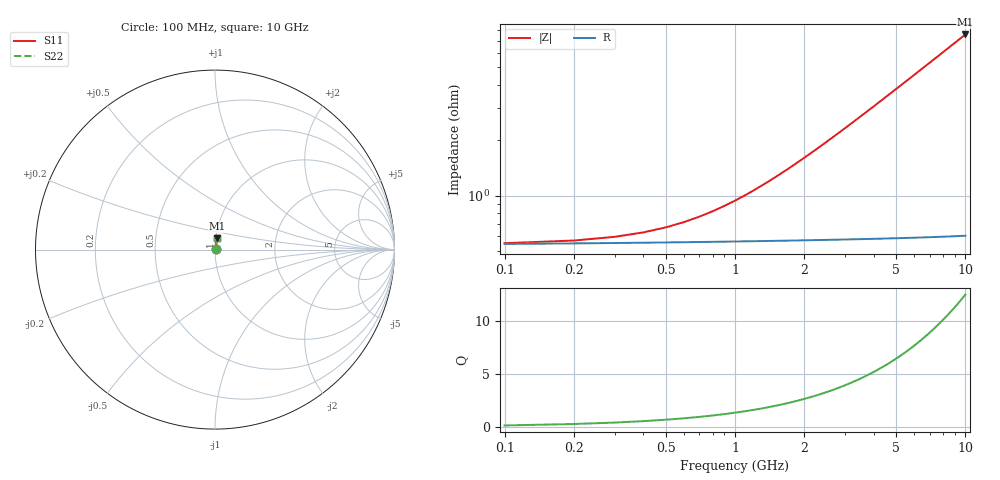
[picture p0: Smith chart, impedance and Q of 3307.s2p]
# Hz S RI R 50.00
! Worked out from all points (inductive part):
!   100 points, 100 MHz to 10 GHz, reference 50 ohm
!   read as one part in series: L = 120 pH near 2.3 GHz
!   highest Q = 12.5 at 10 GHz (marker M1), where L = 120 pH
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1e8  0.00543 0.000641  0.9946 -0.000848  0.9946 -0.000848  0.00543 0.000641
2e8  0.00547 0.00128  0.9945 -0.0017  0.9945 -0.0017  0.00547 0.00128
3e8  0.0055 0.00192  0.9945 -0.00254  0.9945 -0.00254  0.0055 0.00192
4e8  0.00552 0.00256  0.9945 -0.00339  0.9945 -0.00339  0.00552 0.00256
6e8  0.00556 0.00384  0.9944 -0.00509  0.9944 -0.00509  0.00556 0.00384
1.1e9  0.00567 0.00705  0.9943 -0.00933  0.9943 -0.00933  0.00567 0.00705
1.3e9  0.00572 0.00833  0.9943 -0.011  0.9943 -0.011  0.00572 0.00833
1.5e9  0.00576 0.00961  0.9942 -0.0127  0.9942 -0.0127  0.00576 0.00961
1.8e9  0.00584 0.0115  0.9941 -0.0153  0.9941 -0.0153  0.00584 0.0115
2.1e9  0.00592 0.0134  0.9941 -0.0178  0.9941 -0.0178  0.00592 0.0134
2.5e9  0.00605 0.016  0.9939 -0.0212  0.9939 -0.0212  0.00605 0.016
2.9e9  0.00619 0.0186  0.9938 -0.0246  0.9938 -0.0246  0.00619 0.0186
3.4e9  0.00639 0.0218  0.9936 -0.0288  0.9936 -0.0288  0.00639 0.0218
3.8e9  0.00656 0.0243  0.9934 -0.0322  0.9934 -0.0322  0.00656 0.0243
4.2e9  0.00676 0.0269  0.9932 -0.0356  0.9932 -0.0356  0.00676 0.0269
4.6e9  0.00696 0.0294  0.993 -0.039  0.993 -0.039  0.00696 0.0294
5.1e9  0.00725 0.0326  0.9927 -0.0432  0.9927 -0.0432  0.00725 0.0326
5.9e9  0.00776 0.0377  0.9922 -0.0499  0.9922 -0.0499  0.00776 0.0377
6.7e9  0.00834 0.0428  0.9916 -0.0567  0.9916 -0.0567  0.00834 0.0428
7.5e9  0.00899 0.0479  0.9909 -0.0634  0.9909 -0.0634  0.00899 0.0479
8.4e9  0.0098 0.0536  0.99 -0.071  0.99 -0.071  0.0098 0.0536
1e10  0.0115 0.0637  0.9883 -0.0844  0.9883 -0.0844  0.0115 0.0637
